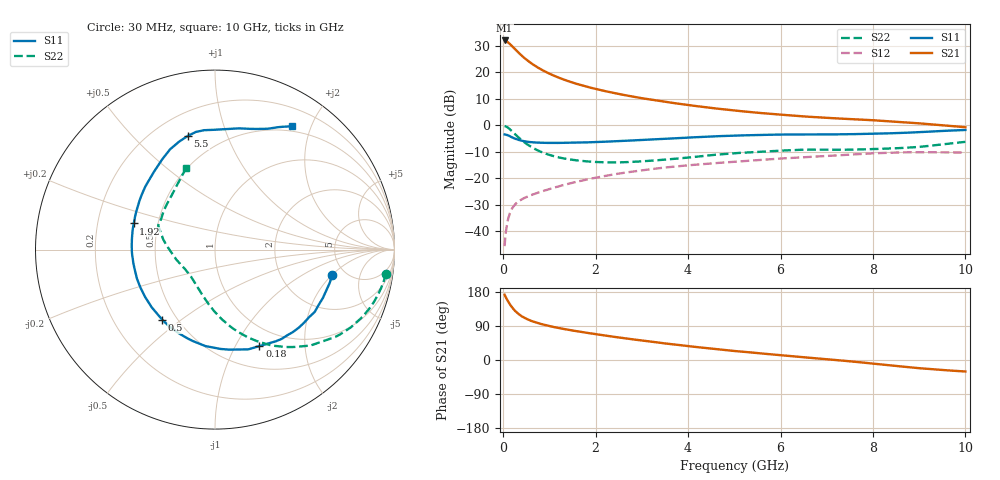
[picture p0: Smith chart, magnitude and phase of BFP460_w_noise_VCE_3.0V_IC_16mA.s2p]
! (c) 2016  Infineon Technologies AG, Munich
! Infineon Technologies  Discrete & RF Semiconductors
! BFP460
! VCE =  3.0 V,  IC =  16 mA
! Common Emitter S-Parameters:  Jan 2016
# GHz  S  MA  R  50
!  f  S11  S21  S12  S22
! GHz  MAG  ANG  MAG  ANG  MAG  ANG  MAG  ANG
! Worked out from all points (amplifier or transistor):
!   229 points, 30 MHz to 10 GHz, reference 50 ohm
!   highest |S21| = 31.9 dB at 30 MHz (marker M1)
!   |S21| within 3 dB of that: start of sweep to 240.7 MHz
!   unconditionally stable (mu >= 1): 2.008 GHz to 7.76 GHz
!   at 280 MHz: K = 0.36, MSG = 28.9 dB, |S12| = -29.5 dB
!   at 1.78 GHz: K = 0.98, MSG = 17.6 dB, |S12| = -20.6 dB
!   at 10 GHz: K = 0.97, MSG = 4.8 dB, |S12| = -10.3 dB
!   lowest NFmin = 1.13 dB at 900 MHz
!   S11 on the Smith chart (normalised r, x): 30 MHz: 3.94, -2.00; 180 MHz: 0.76, -1.26; 500 MHz: 0.42, -0.43; 1.92 GHz: 0.36, +0.14; 5.5 GHz: 0.33, +0.74; 10 GHz: 0.43, +1.72
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0.03  0.6674 -12.2  39.56 172.1  0.0052 82.7  0.9619 -8.0
0.07  0.6545 -28.2  38.2 162.1  0.0117 76.9  0.9331 -18.0
0.11  0.6382 -42.9  36.02 153.7  0.0175 71.3  0.8854 -27.5
0.14  0.6208 -53.3  34.27 147.6  0.0214 67.5  0.843 -34.0
0.18  0.5918 -65.3  31.62 140.9  0.0255 63.0  0.7809 -41.3
0.2  0.586 -71.5  30.47 137.3  0.0276 61.2  0.7536 -45.2
0.24  0.563 -81.9  28.05 131.8  0.0307 58.1  0.6964 -51.2
0.3  0.5402 -95.7  24.81 124.5  0.0347 54.8  0.6201 -59.5
0.4  0.508 -113.4  20.45 115.4  0.0398 51.5  0.5188 -69.8
0.5  0.4891 -126.9  17.21 108.8  0.0439 50.2  0.4445 -77.9
0.6  0.4773 -137.6  14.79 103.4  0.0477 49.9  0.3899 -84.4
0.7  0.4702 -146.3  12.92 99.1  0.0513 50.0  0.3487 -90.0
0.9  0.464 -159.6  10.29 92.3  0.0586 50.7  0.293 -99.0
1.2  0.4617 -174.1  7.858 84.4  0.0699 51.7  0.246 -109.8
1.7  0.4696 168.6  5.631 73.8  0.0897 51.6  0.211 -123.7
1.92  0.4758 162.2  5.01 69.7  0.0986 51.0  0.2036 -129.2
3.4  0.5435 130.2  2.839 45.4  0.1548 42.3  0.2198 -164.2
5.1  0.6376 107.2  1.848 22.8  0.2066 30.7  0.2984 167.5
5.5  0.6517 103.3  1.711 18.2  0.2193 28.1  0.3115 163.9
6.8  0.6672 92.4  1.404 4.2  0.2559 19.1  0.3437 155.8
8.4  0.7018 73.4  1.174 -14.5  0.3026 5.4  0.3629 139.8
10  0.8098 58.0  0.911 -30.4  0.304 -7.1  0.4837 109.2
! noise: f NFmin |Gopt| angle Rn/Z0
0.45  1.15  0.02  -171  0.12
0.9  1.13  0.05  97  0.15
1.9  1.29  0.14  -157  0.12
3.5  1.26  0.38  -127  0.14
